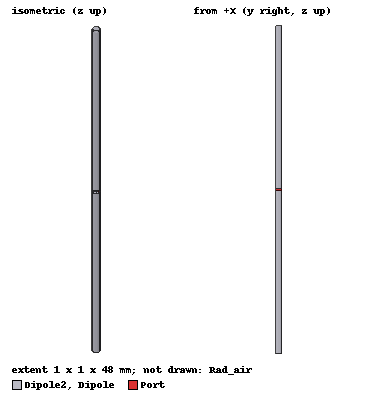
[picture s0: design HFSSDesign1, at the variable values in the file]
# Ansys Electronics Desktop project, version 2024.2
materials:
  vacuum: permittivity=1
  pec: conductivity=1e+30
  air: permittivity=1.0006 permeability=1.0000004

design HFSSDesign1 (HFSS, HFSS Modal Network, model units mm)
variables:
  lambda = 100mm
  length = 0.48*lambda
  gap = 0.24mm
  dip_length = length/2-gap/2
  dip_radius = lambda/200
  rad_radius = dip_radius+lambda/4
  rad_height = dip_length+gap/2+lambda/10
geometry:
  Dipole [pec] = cylinder(axis=Z, base_centre=(0mm, 0mm, gap/2), radius=dip_radius, height=dip_length)
  Dipole2 [pec] = Dipole.duplicate_around_axis(axis=X, angle=180deg, total=2)
  Port = rectangle(corner=(0mm, -dip_radius, -gap/2), y_size=2*dip_radius, z_size=gap)
  Rad_air [air] = cylinder(axis=Z, base_centre=(0mm, 0mm, -rad_height), radius=rad_radius, height=2*rad_height)
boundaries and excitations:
  Rad1: Radiation Objects=Rad_air
  1: Lumped Port Objects=Port LumpedPortType=Modal Modes{Mode1{IntLine{(0, 0, -0.12) -> (0, 0, 0.12)} CharImp=Zpi}} Impedance=73.2ohm
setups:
  Setup1: HfssDriven Frequency=3GHz MaxDeltaS=0.02 MaximumPasses=20 MinimumPasses=1 MinimumConvergedPasses=1 PercentRefinement=30 BasisOrder=1 PortAccuracy=2 DrivenSolverType="Direct Solver"
    sweep Sweep: 2.5GHz to 3.5GHz, 1000 points; Type=Fast SaveFields
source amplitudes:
  1:1: 1W 0deg
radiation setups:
  H_Plane: Infinite Sphere Theta=90deg..90deg step 0deg Phi=0deg..360deg step 1deg
  3D_Sphere: Infinite Sphere Theta=0deg..180deg step 1deg Phi=0deg..360deg step 1deg
  E_Plane: Infinite Sphere Theta=-180deg..180deg step 1deg Phi=0deg..0deg step 0deg
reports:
  S Parameter Plot 1: dB(S(1,1)) vs Freq on Setup1 : Sweep
  VSWR Plot 1: VSWR(1) vs Freq on Setup1 : Sweep
  S Parameter Chart 1: S(1,1) on Setup1 : Sweep [Freq=all]
  Z Parameter Plot 1: re(Z(1,1)), im(Z(1,1)) vs Freq on Setup1 : Sweep
  Gain Plot 1: dB(GainTotal) vs Theta on Setup1 : LastAdaptive, E_Plane [Phi=all Freq=3GHz]; markers m1 at 90deg, m2 at 0deg
  Gain Plot 2: dB(GainTotal) vs Phi on Setup1 : LastAdaptive, H_Plane [Theta=all Freq=3GHz]; markers m1 at 285deg, m2 at 180deg
  Gain Plot 3: dB(GainTotal) vs Phi, Theta on Setup1 : LastAdaptive, 3D_Sphere [Freq=3GHz]
